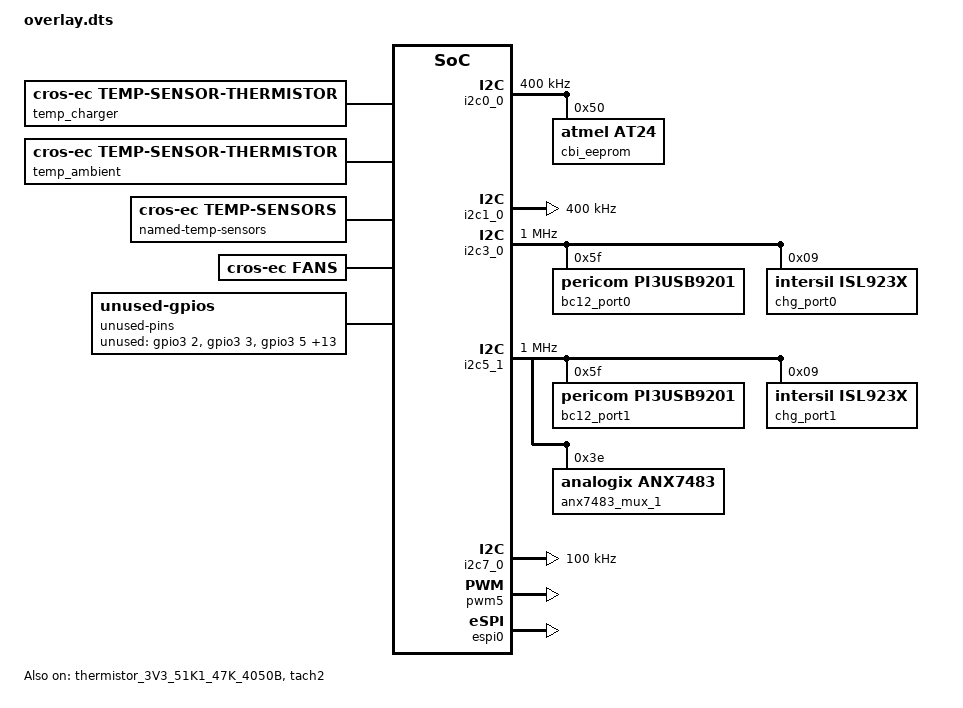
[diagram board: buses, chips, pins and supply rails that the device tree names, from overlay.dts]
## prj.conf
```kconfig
# Copyright 2021 The ChromiumOS Authors
# Use of this source code is governed by a BSD-style license that can be
# found in the LICENSE file.

CONFIG_BOARD_NIVVIKS=y
CONFIG_PLATFORM_EC_OCPC=y

CONFIG_PLATFORM_EC_ACCELGYRO_LSM6DSO=y
```

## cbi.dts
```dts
/* Copyright 2022 The Chromium OS Authors. All rights reserved.
 * Use of this source code is governed by a BSD-style license that can be
 * found in the LICENSE file.
 */

/ {
  /* Nivviks-specific fw_config fields. */
	nissa-fw-config {
		/*
		 * FW_CONFIG field to describe mainboard orientation in chassis.
		 */
		base-inversion {
			enum-name = "FW_BASE_INVERSION";
			start = <3>;
			size = <1>;

			inverted {
				compatible = "cros-ec,cbi-fw-config-value";
				enum-name = "FW_BASE_INVERTED";
				value = <0>;
			};
			regular {
				compatible = "cros-ec,cbi-fw-config-value";
				enum-name = "FW_BASE_REGULAR";
				value = <1>;
				default;
			};
		};
	};
};
```

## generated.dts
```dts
/* Copyright 2022 The ChromiumOS Authors
 * Use of this source code is governed by a BSD-style license that can be
 * found in the LICENSE file.
 *
 * This file is auto-generated - do not edit!
 */

/ {

	named-adc-channels {
		compatible = "named-adc-channels";

		adc_ec_vsense_pp1050_proc: ec_vsense_pp1050_proc {
			enum-name = "ADC_PP1050_PROC";
			io-channels = <&adc0 4>;
		};
		adc_ec_vsense_pp3300_s5: ec_vsense_pp3300_s5 {
			enum-name = "ADC_PP3300_S5";
			io-channels = <&adc0 6>;
		};
		adc_temp_sensor_1: temp_sensor_1 {
			enum-name = "ADC_TEMP_SENSOR_1";
			io-channels = <&adc0 0>;
		};
		adc_temp_sensor_2: temp_sensor_2 {
			enum-name = "ADC_TEMP_SENSOR_2";
			io-channels = <&adc0 1>;
		};
		adc_temp_sensor_3: temp_sensor_3 {
			enum-name = "ADC_TEMP_SENSOR_3";
			io-channels = <&adc0 10>;
		};
	};

	named-gpios {
		compatible = "named-gpios";

		gpio_acc_int_l: acc_int_l {
			gpios = <&gpio5 0 GPIO_INPUT>;
		};
		gpio_all_sys_pwrgd: all_sys_pwrgd {
			gpios = <&gpioa 7 GPIO_INPUT>;
		};
		gpio_ccd_mode_odl: ccd_mode_odl {
			gpios = <&gpioe 5 GPIO_INPUT>;
			enum-name = "GPIO_CCD_MODE_ODL";
		};
		gpio_cpu_c10_gate_l: cpu_c10_gate_l {
			gpios = <&gpio6 7 GPIO_INPUT>;
		};
		gpio_ec_battery_pres_odl: ec_battery_pres_odl {
			gpios = <&gpioa 3 GPIO_INPUT>;
			enum-name = "GPIO_BATT_PRES_ODL";
		};
		gpio_ec_cbi_wp: ec_cbi_wp {
			gpios = <&gpio7 4 GPIO_OUTPUT>;
		};
		gpio_ec_edp_bl_en_od: ec_edp_bl_en_od {
			gpios = <&gpiod 3 GPIO_ODR_HIGH>;
			enum-name = "GPIO_ENABLE_BACKLIGHT";
		};
		gpio_ec_entering_rw: ec_entering_rw {
			gpios = <&gpio0 3 GPIO_OUTPUT>;
			enum-name = "GPIO_ENTERING_RW";
		};
		gpio_ec_gsc_packet_mode: ec_gsc_packet_mode {
			gpios = <&gpio7 5 GPIO_OUTPUT>;
			enum-name = "GPIO_PACKET_MODE_EN";
		};
		gpio_ec_kso_02_inv: ec_kso_02_inv {
			gpios = <&gpio1 7 (GPIO_OUTPUT_LOW | GPIO_ACTIVE_LOW)>;
		};
		gpio_ec_pch_wake_odl: ec_pch_wake_odl {
			gpios = <&gpiob 0 GPIO_ODR_LOW>;
		};
		gpio_ec_prochot_odl: ec_prochot_odl {
			gpios = <&gpiof 1 GPIO_ODR_HIGH>;
		};
		gpio_ec_soc_dsw_pwrok: ec_soc_dsw_pwrok {
			gpios = <&gpio6 1 GPIO_OUTPUT>;
		};
		gpio_ec_soc_hdmi_hpd: ec_soc_hdmi_hpd {
			gpios = <&gpioe 4 GPIO_OUTPUT>;
		};
		gpio_ec_soc_int_odl: ec_soc_int_odl {
			gpios = <&gpio8 0 GPIO_ODR_HIGH>;
			enum-name = "GPIO_EC_INT_L";
		};
		gpio_ec_soc_pch_pwrok_od: ec_soc_pch_pwrok_od {
			gpios = <&gpio7 2 GPIO_ODR_HIGH>;
		};
		gpio_ec_soc_pwr_btn_odl: ec_soc_pwr_btn_odl {
			gpios = <&gpioc 1 GPIO_ODR_HIGH>;
			enum-name = "GPIO_PCH_PWRBTN_L";
		};
		gpio_ec_soc_rsmrst_l: ec_soc_rsmrst_l {
			gpios = <&gpioa 6 GPIO_OUTPUT>;
		};
		gpio_ec_soc_rtcrst: ec_soc_rtcrst {
			gpios = <&gpio7 6 GPIO_OUTPUT>;
		};
		gpio_ec_soc_sys_pwrok: ec_soc_sys_pwrok {
			gpios = <&gpio3 7 GPIO_OUTPUT>;
		};
		gpio_ec_soc_vccst_pwrgd_od: ec_soc_vccst_pwrgd_od {
			gpios = <&gpioa 4 GPIO_ODR_HIGH>;
		};
		gpio_ec_wp_odl: ec_wp_odl {
			gpios = <&gpioa 1 (GPIO_INPUT | GPIO_ACTIVE_LOW)>;
		};
		gpio_en_kb_bl: en_kb_bl {
			gpios = <&gpioa 0 GPIO_OUTPUT>;
			enum-name = "GPIO_EN_KEYBOARD_BACKLIGHT";
		};
		gpio_en_pp3300_s5: en_pp3300_s5 {
			gpios = <&gpiob 6 GPIO_OUTPUT>;
			enum-name = "GPIO_TEMP_SENSOR_POWER";
		};
		gpio_en_pp5000_pen_x: en_pp5000_pen_x {
			gpios = <&gpioe 2 GPIO_OUTPUT>;
		};
		gpio_en_pp5000_s5: en_pp5000_s5 {
			gpios = <&gpio4 0 GPIO_OUTPUT>;
		};
		gpio_en_slp_z: en_slp_z {
			gpios = <&gpioe 1 GPIO_OUTPUT>;
		};
		gpio_en_usb_a0_vbus: en_usb_a0_vbus {
			gpios = <&gpio9 1 GPIO_OUTPUT>;
		};
		gpio_gsc_ec_pwr_btn_odl: gsc_ec_pwr_btn_odl {
			gpios = <&gpio0 0 GPIO_INPUT_PULL_UP>;
			enum-name = "GPIO_POWER_BUTTON_L";
		};
		gpio_hdmi_sel: hdmi_sel {
			gpios = <&gpioc 6 GPIO_OUTPUT>;
		};
		gpio_imu_int_l: imu_int_l {
			gpios = <&gpio5 6 GPIO_INPUT>;
		};
		gpio_imvp91_vrrdy_od: imvp91_vrrdy_od {
			gpios = <&gpio4 3 GPIO_INPUT>;
		};
		gpio_lid_open: lid_open {
			gpios = <&gpiod 2 GPIO_INPUT>;
			enum-name = "GPIO_LID_OPEN";
		};
		gpio_pen_detect_odl: pen_detect_odl {
			gpios = <&gpio9 6 GPIO_INPUT_PULL_UP>;
		};
		gpio_pg_pp1050_mem_s3_od: pg_pp1050_mem_s3_od {
			gpios = <&gpiof 0 GPIO_INPUT>;
		};
		gpio_pg_pp5000_s5_od: pg_pp5000_s5_od {
			gpios = <&gpio4 2 GPIO_INPUT>;
		};
		gpio_rsmrst_pwrgd_l: rsmrst_pwrgd_l {
			gpios = <&gpio9 4 GPIO_INPUT_PULL_UP>;
		};
		gpio_slp_s0_l: slp_s0_l {
			gpios = <&gpio9 7 GPIO_INPUT>;
		};
		gpio_slp_s3_l: slp_s3_l {
			gpios = <&gpioa 5 GPIO_INPUT>;
		};
		gpio_slp_s4_l: slp_s4_l {
			gpios = <&gpio7 0 GPIO_INPUT>;
		};
		gpio_slp_sus_l: slp_sus_l {
			gpios = <&gpio6 2 GPIO_INPUT>;
		};
		gpio_sub_usb_a1_ilimit_sdp: sub_usb_a1_ilimit_sdp {
			gpios = <&gpiod 5 GPIO_OUTPUT>;
			enum-name = "GPIO_USB2_ILIM_SEL";
		};
		gpio_sys_rst_odl: sys_rst_odl {
			gpios = <&gpioc 5 GPIO_ODR_HIGH>;
		};
		gpio_tablet_mode_l: tablet_mode_l {
			gpios = <&gpio9 5 GPIO_INPUT>;
			enum-name = "GPIO_TABLET_MODE_L";
		};
		gpio_usb_a0_ilimit_sdp: usb_a0_ilimit_sdp {
			gpios = <&gpio8 5 GPIO_OUTPUT>;
			enum-name = "GPIO_USB1_ILIM_SEL";
		};
		gpio_usb_c0_int_odl: usb_c0_int_odl {
			gpios = <&gpio0 1 GPIO_INPUT_PULL_UP>;
		};
		gpio_vccin_aux_vid0: vccin_aux_vid0 {
			gpios = <&gpio9 2 (GPIO_INPUT | GPIO_VOLTAGE_1P8)>;
		};
		gpio_vccin_aux_vid1: vccin_aux_vid1 {
			gpios = <&gpioe 3 (GPIO_INPUT | GPIO_VOLTAGE_1P8)>;
		};
		gpio_voldn_btn_odl: voldn_btn_odl {
			gpios = <&gpioa 2 GPIO_INPUT_PULL_UP>;
			enum-name = "GPIO_VOLUME_DOWN_L";
		};
		gpio_volup_btn_odl: volup_btn_odl {
			gpios = <&gpio9 3 GPIO_INPUT_PULL_UP>;
			enum-name = "GPIO_VOLUME_UP_L";
		};
	};

	named-i2c-ports {
		compatible = "named-i2c-ports";

		i2c_ec_i2c_eeprom: ec_i2c_eeprom {
			i2c-port = <&i2c0_0>;
			enum-names = "I2C_PORT_EEPROM";
		};
		i2c_ec_i2c_sensor: ec_i2c_sensor {
			i2c-port = <&i2c1_0>;
			enum-names = "I2C_PORT_SENSOR";
		};
		i2c_ec_i2c_usb_c0: ec_i2c_usb_c0 {
			i2c-port = <&i2c3_0>;
			enum-names = "I2C_PORT_USB_C0_TCPC";
		};
		i2c_ec_i2c_sub_usb_c1: ec_i2c_sub_usb_c1 {
			i2c-port = <&i2c5_1>;
			enum-names = "I2C_PORT_USB_C1_TCPC";
		};
		i2c_ec_i2c_batt: ec_i2c_batt {
			i2c-port = <&i2c7_0>;
			enum-names = "I2C_PORT_BATTERY";
		};
	};
};

&adc0 {
	status = "okay";
	pinctrl-0 = <&adc0_chan0_gp45
		     &adc0_chan1_gp44
		     &adc0_chan4_gp41
		     &adc0_chan6_gp34
		     &adc0_chan10_gpe0>;
	pinctrl-names = "default";
};


&i2c0_0 {
	status = "okay";
	pinctrl-0 = <&i2c0_0_sda_scl_gpb4_b5>;
	pinctrl-names = "default";
};

&i2c1_0 {
	status = "okay";
	pinctrl-0 = <&i2c1_0_sda_scl_gp87_90>;
	pinctrl-names = "default";
};

&i2c3_0 {
	status = "okay";
	pinctrl-0 = <&i2c3_0_sda_scl_gpd0_d1>;
	pinctrl-names = "default";
};

&i2c5_1 {
	status = "okay";
	pinctrl-0 = <&i2c5_1_sda_scl_gpf4_f5>;
	pinctrl-names = "default";
};

&i2c7_0 {
	status = "okay";
	pinctrl-0 = <&i2c7_0_sda_scl_gpb2_b3>;
	pinctrl-names = "default";
};

&i2c_ctrl0 {
	status = "okay";
};

&i2c_ctrl1 {
	status = "okay";
};

&i2c_ctrl3 {
	status = "okay";
};

&i2c_ctrl5 {
	status = "okay";
};

&i2c_ctrl7 {
	status = "okay";
};
```

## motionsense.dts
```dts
/* Copyright 2021 The Chromium OS Authors. All rights reserved.
 * Use of this source code is governed by a BSD-style license that can be
 * found in the LICENSE file.
 */

#include <dt-bindings/motionsense/utils.h>


/ {
	aliases {
		/*
		 * Interrupt bindings for sensor devices.
		 */
		lsm6dso-int = &base_accel;
		lis2dw12-int = &lid_accel;
	};

	/*
	 * Declare mutexes used by sensor drivers.
	 * A mutex node is used to create an instance of mutex_t.
	 * A mutex node is referenced by a sensor node if the
	 * corresponding sensor driver needs to use the
	 * instance of the mutex.
	 */
	motionsense-mutex {
		compatible = "cros-ec,motionsense-mutex";
		lid_mutex: lid-mutex {
		};

		base_mutex: base-mutex {
		};
	};

	/* Rotation matrix used by drivers. */
	motionsense-rotation-ref {
		compatible = "cros-ec,motionsense-rotation-ref";
		lid_rot_ref: lid-rotation-ref {
			mat33 = <(-1) 0 0
				 0 1 0
				 0 0 (-1)>;
		};

		base_rot_ref: base-rot-ref {
			mat33 = <(-1) 0 0
				 0 (-1) 0
				 0 0 1>;
		};

		base_rot_inverted: base-rotation-inverted {
			mat33 = <1 0 0
				 0 (-1) 0
				 0 0 (-1)>;
		};
	};

	/*
	 * Driver specific data. A driver-specific data can be shared with
	 * different motion sensors while they are using the same driver.
	 *
	 * If a node's compatible starts with "cros-ec,accelgyro-", it is for
	 * a common structure defined in accelgyro.h.
	 * e.g) compatible = "cros-ec,accelgyro-als-drv-data" is for
	 * "struct als_drv_data_t" in accelgyro.h
	 */
	motionsense-sensor-data {
		lsm6dso_accel_data: lsm6dso-accel-drv-data {
			compatible = "cros-ec,drvdata-lsm6dso";
			status = "okay";
		};

		lsm6dso_gyro_data: lsm6dso-gyro-drv-data {
			compatible = "cros-ec,drvdata-lsm6dso";
			status = "okay";
		};

		lis2dw12_data: lis2dw12-drv-data {
			compatible = "cros-ec,drvdata-lis2dw12";
			status = "okay";
		};
	};

	/*
	 * List of motion sensors that creates motion_sensors array.
	 * The nodelabel "lid_accel" and "base_accel" are used to indicate
	 * motion sensor IDs for lid angle calculation.
	 * TODO(b/238139272): The first entries of the array must be
	 * accelerometers,then gyroscope. Fix this dependency in the DTS
	 * processing which makes the devicetree entries independent.
	 */
	motionsense-sensor {
		lid_accel: lid-accel {
			compatible = "cros-ec,lis2dw12";
			status = "okay";

			active-mask = "SENSOR_ACTIVE_S0_S3";
			location = "MOTIONSENSE_LOC_LID";
			mutex = <&lid_mutex>;
			port = <&i2c_ec_i2c_sensor>;
			rot-standard-ref = <&lid_rot_ref>;
			default-range = <2>;
			drv-data = <&lis2dw12_data>;
			i2c-spi-addr-flags = "LIS2DWL_ADDR0_FLAGS";
			configs {
				compatible =
					"cros-ec,motionsense-sensor-config";
				ec-s0 {
					odr = <(10000 | ROUND_UP_FLAG)>;
				};
				ec-s3 {
					odr = <(10000 | ROUND_UP_FLAG)>;
				};
			};
		};

		base_accel: base-accel {
			compatible = "cros-ec,lsm6dso-accel";
			status = "okay";

			active-mask = "SENSOR_ACTIVE_S0_S3";
			location = "MOTIONSENSE_LOC_BASE";
			mutex = <&base_mutex>;
			port = <&i2c_ec_i2c_sensor>;
			/*
			 * May be replaced by alternate depending
			 * on board config.
			 */
			rot-standard-ref = <&base_rot_ref>;
			drv-data = <&lsm6dso_accel_data>;
			configs {
				compatible =
					"cros-ec,motionsense-sensor-config";
				ec-s0 {
					odr = <(10000 | ROUND_UP_FLAG)>;
				};
				ec-s3 {
					odr = <(10000 | ROUND_UP_FLAG)>;
				};
			};
		};

		base_gyro: base-gyro {
			compatible = "cros-ec,lsm6dso-gyro";
			status = "okay";

			active-mask = "SENSOR_ACTIVE_S0_S3";
			location = "MOTIONSENSE_LOC_BASE";
			mutex = <&base_mutex>;
			port = <&i2c_ec_i2c_sensor>;
			rot-standard-ref = <&base_rot_ref>;
			default-range = <(1000 | ROUND_UP_FLAG)>; /* dps */
			drv-data = <&lsm6dso_gyro_data>;
		};
	};

	motionsense-sensor-info {
		compatible = "cros-ec,motionsense-sensor-info";

		/*
		 * list of GPIO interrupts that have to
		 * be enabled at initial stage
		 */
		sensor-irqs = <&int_imu>;
		/* list of sensors in force mode */
		accel-force-mode-sensors = <&lid_accel>;
	};
};
```

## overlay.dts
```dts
/* Copyright 2021 The ChromiumOS Authors
 * Use of this source code is governed by a BSD-style license that can be
 * found in the LICENSE file.
 */

#include <cros/thermistor/thermistor.dtsi>

/ {
	aliases {
		gpio-cbi-wp = &gpio_ec_cbi_wp;
		gpio-wp = &gpio_ec_wp_odl;
		int-wp = &int_wp_l;
		gpio-kbd-kso2 = &gpio_ec_kso_02_inv;
	};

	ec-console {
		compatible = "ec-console";
		disabled = "events", "lpc", "hostcmd";
	};

	batteries {
		default_battery: lgc {
			compatible = "lgc,ap18c8k", "battery-smart";
		};
		lgc_ap19b8m {
			compatible = "lgc,ap19b8m", "battery-smart";
		};
	};

	hibernate-wake-pins {
		compatible = "cros-ec,hibernate-wake-pins";
		wakeup-irqs = <
			&int_power_button
			&int_lid_open
		>;
	};

	gpio-interrupts {
		compatible = "cros-ec,gpio-interrupts";

		int_power_button: power_button {
			irq-pin = <&gpio_gsc_ec_pwr_btn_odl>;
			flags = <GPIO_INT_EDGE_BOTH>;
			handler = "power_button_interrupt";
		};
		int_wp_l: wp_l {
			irq-pin = <&gpio_ec_wp_odl>;
			flags = <GPIO_INT_EDGE_BOTH>;
			handler = "switch_interrupt";
		};
		int_lid_open: lid_open {
			irq-pin = <&gpio_lid_open>;
			flags = <GPIO_INT_EDGE_BOTH>;
			handler = "lid_interrupt";
		};
		int_tablet_mode: tablet_mode {
			irq-pin = <&gpio_tablet_mode_l>;
			flags = <GPIO_INT_EDGE_BOTH>;
			handler = "gmr_tablet_switch_isr";
		};
		int_imu: ec_imu {
			irq-pin = <&gpio_imu_int_l>;
			flags = <GPIO_INT_EDGE_FALLING>;
			handler = "lsm6dso_interrupt";
		};
		int_vol_down: vol_down {
			irq-pin = <&gpio_voldn_btn_odl>;
			flags = <GPIO_INT_EDGE_BOTH>;
			handler = "button_interrupt";
		};
		int_vol_up: vol_up {
			irq-pin = <&gpio_volup_btn_odl>;
			flags = <GPIO_INT_EDGE_BOTH>;
			handler = "button_interrupt";
		};
		int_usb_c0: usb_c0 {
			irq-pin = <&gpio_usb_c0_int_odl>;
			flags = <GPIO_INT_EDGE_FALLING>;
			handler = "usb_interrupt";
		};
		int_usb_c1: usb_c1 {
			irq-pin = <&gpio_sb_1>;
			flags = <GPIO_INT_EDGE_FALLING>;
			handler = "usb_interrupt";
		};
	};

	named-gpios {
		gpio_sb_1: sb-1 {
			gpios = <&gpio0 2 GPIO_PULL_UP>;
			no-auto-init;
		};

		gpio_sb_2: sb-2 {
			gpios = <&gpiod 4 GPIO_OUTPUT>;
			no-auto-init;
		};

		/*
		 * Set I2C pins for type C sub-board to be low voltage (I2C5_1).
		 * We do this for all boards, since the pins are 3.3V tolerant,
		 * and the only 2 types of sub-boards used on nivviks both have
		 * type-C ports on them.
		 */
		gpio_sb_3: sb-3 {
			gpios = <&gpiof 4 (GPIO_OPEN_DRAIN | GPIO_VOLTAGE_1P8)>;
			no-auto-init;
		};
		gpio_sb_4: sb-4 {
			gpios = <&gpiof 5 (GPIO_INPUT | GPIO_VOLTAGE_1P8)>;
			no-auto-init;
		};
		gpio_fan_enable: fan-enable {
			gpios = <&gpio6 3 GPIO_OUTPUT>;
			no-auto-init;
		};
		ec-i2c-sensor-scl {
			gpios = <&gpio9 0 (GPIO_INPUT | GPIO_VOLTAGE_1P8)>;
		};
		ec-i2c-sensor-sda {
			gpios = <&gpio8 7 (GPIO_INPUT | GPIO_VOLTAGE_1P8)>;
		};
	};

	/*
	 * Aliases used for sub-board GPIOs.
	 */
	aliases {
		/*
		 * Input GPIO when used with type-C port 1
		 * Output when used with HDMI sub-board
		 */
		gpio-usb-c1-int-odl = &gpio_sb_1;
		gpio-en-rails-odl = &gpio_sb_1;
		/*
		 * Sub-board with type A USB, enable.
		 */
		gpio-en-usb-a1-vbus = &gpio_sb_2;
		/*
		 * HPD pins for HDMI sub-board.
		 */
		gpio-hdmi-en-odl = &gpio_sb_3;
		gpio-hpd-odl = &gpio_sb_4;
		/*
		 * Enable S5 rails for LTE sub-board
		 */
		gpio-en-sub-s5-rails = &gpio_sb_2;
	};

	temp_memory: memory {
		compatible = "cros-ec,temp-sensor-thermistor";
		thermistor = <&thermistor_3V3_51K1_47K_4050B>;
		adc = <&adc_temp_sensor_1>;
	};
	temp_charger: charger {
		compatible = "cros-ec,temp-sensor-thermistor";
		thermistor = <&thermistor_3V3_51K1_47K_4050B>;
		adc = <&adc_temp_sensor_2>;
	};
	temp_ambient: ambient {
		compatible = "cros-ec,temp-sensor-thermistor";
		thermistor = <&thermistor_3V3_51K1_47K_4050B>;
		adc = <&adc_temp_sensor_3>;
	};

	named-temp-sensors {
		compatible = "cros-ec,temp-sensors";
		memory {
			temp_fan_off = <35>;
			temp_fan_max = <60>;
			temp_host_high = <85>;
			temp_host_halt = <90>;
			temp_host_release_high = <80>;
			power-good-pin = <&gpio_ec_soc_dsw_pwrok>;
			sensor = <&temp_memory>;
		};
		charger {
			temp_fan_off = <35>;
			temp_fan_max = <60>;
			temp_host_high = <85>;
			temp_host_halt = <90>;
			temp_host_release_high = <80>;
			power-good-pin = <&gpio_ec_soc_dsw_pwrok>;
			sensor = <&temp_charger>;
		};
		ambient {
			temp_fan_off = <35>;
			temp_fan_max = <60>;
			temp_host_high = <85>;
			temp_host_halt = <90>;
			temp_host_release_high = <80>;
			power-good-pin = <&gpio_ec_soc_dsw_pwrok>;
			sensor = <&temp_ambient>;
		};
	};

	usba {
		compatible = "cros-ec,usba-port-enable-pins";
		/*
		 * sb_2 is only configured as GPIO when USB-A1 is present,
		 * but it's still safe to control when disabled.
		 *
		 * ILIM_SEL pins are referred to by legacy enum name,
		 * GPIO_USB*_ILIM_SEL. The one for port A1 is unused on
		 * sub-boards that don't have USB-A so is safe to control
		 * regardless of system configuration.
		 */
		enable-pins = <&gpio_en_usb_a0_vbus &gpio_sb_2>;
		status = "okay";
	};

	usbc {
		#address-cells = <1>;
		#size-cells = <0>;

		port0@0 {
			compatible = "named-usbc-port";
			reg = <0>;
			bc12 = <&bc12_port0>;
			chg = <&chg_port0>;
			usb-mux-chain-0 {
				compatible = "cros-ec,usb-mux-chain";
				usb-muxes = <&virtual_mux_0>;
			};
		};
		port0-muxes {
			virtual_mux_0: virtual-mux-0 {
				compatible = "cros-ec,usbc-mux-virtual";
			};
		};
		/*
		 * TODO(b:211693800): port1 may not be present on some
		 * sub-boards.
		 */
		port1@1 {
			compatible = "named-usbc-port";
			reg = <1>;
			bc12 = <&bc12_port1>;
			chg = <&chg_port1>;
			usb-mux-chain-1 {
				compatible = "cros-ec,usb-mux-chain";
				usb-muxes = <&virtual_mux_1 &anx7483_mux_1>;
			};
			usb_mux_chain_1_no_mux: usb-mux-chain-1-no-mux {
				compatible = "cros-ec,usb-mux-chain";
				alternative-chain;
				usb-muxes = <&virtual_mux_1>;
			};
		};
		port1-muxes {
			virtual_mux_1: virtual-mux-1 {
				compatible = "cros-ec,usbc-mux-virtual";
			};
		};
	};

	fans {
		compatible = "cros-ec,fans";

		fan_0 {
			pwms = <&pwm5 5 PWM_KHZ(1) PWM_POLARITY_NORMAL>;
			rpm_min = <2200>;
			rpm_start = <2200>;
			rpm_max = <4200>;
			tach = <&tach2>;
			enable_gpio = <&gpio_fan_enable>;
		};
	};

	 /*
	  * Declare unused GPIOs so that they are shut down
	  * and use minimal power
	  */
	  unused-pins {
		compatible = "unused-gpios";
		unused-gpios =
			<&gpio3 2 0>,
			<&gpio3 3 0>,
			<&gpio3 5 0>,
			<&gpio3 6 0>,
			<&gpio5 7 0>,
			<&gpio6 0 0>,
			<&gpio6 3 0>,
			<&gpio6 6 0>,
			<&gpio7 3 0>,
			<&gpio8 3 0>,
			<&gpio8 6 0>,
			<&gpiob 1 0>,
			<&gpiob 7 0>,
			<&gpioc 7 0>,
			<&gpiof 2 0>,
			<&gpiof 3 0>;
	 };
};

&thermistor_3V3_51K1_47K_4050B {
	status = "okay";
};

&adc_ec_vsense_pp3300_s5 {
	/*
	 * Voltage divider on input has 47k upper and 220k lower legs with
	 * 2714 mV full-scale reading on the ADC. Apply the largest possible
	 * multiplier (without overflowing int32) to get the best possible
	 * approximation of the actual ratio, but derate by a factor of two to
	 * ensure unexpectedly high values won't overflow.
	 */
	mul = <(791261 / 2)>;
	div = <(651975 / 2)>;
};

/* Set bus speeds for I2C */
&i2c0_0 {
	label = "I2C_EEPROM";
	clock-frequency = <I2C_BITRATE_FAST>;

	cbi_eeprom: eeprom@50 {
		compatible = "atmel,at24";
		reg = <0x50>;
		size = <2048>;
		pagesize = <16>;
		address-width = <8>;
		timeout = <5>;
	};
};

&i2c1_0 {
	label = "I2C_SENSOR";
	clock-frequency = <I2C_BITRATE_FAST>;
};

&i2c3_0 {
	label = "I2C_USB_C0_TCPC";
	clock-frequency = <I2C_BITRATE_FAST_PLUS>;

	bc12_port0: pi3usb9201@5f {
		compatible = "pericom,pi3usb9201";
		status = "okay";
		reg = <0x5f>;
		/*
		 * BC1.2 interrupt is shared with TCPC, so
		 * IRQ is not specified here and handled by
		 * usb_c0_interrupt.
		 */
	};

	chg_port0: isl923x@9 {
		compatible = "intersil,isl923x";
		status = "okay";
		reg = <0x9>;
	};
};

&i2c5_1 {
	label = "I2C_SUB_C1_TCPC";
	clock-frequency = <I2C_BITRATE_FAST_PLUS>;

	bc12_port1: pi3usb9201@5f {
		compatible = "pericom,pi3usb9201";
		status = "okay";
		reg = <0x5f>;
	};

	chg_port1: isl923x@9 {
		compatible = "intersil,isl923x";
		status = "okay";
		reg = <0x9>;
	};

	anx7483_mux_1: anx7483-mux-1@3e {
		compatible = "analogix,anx7483";
		reg = <0x3e>;
	};
};

&i2c7_0 {
	label = "I2C_BATTERY";
	clock-frequency = <I2C_BITRATE_STANDARD>;
};

&pwm5_gpb7 {
	drive-open-drain;
};

&pwm5 {
	status = "okay";
	clock-bus = "NPCX_CLOCK_BUS_LFCLK";
	pinctrl-0 = <&pwm5_gpb7>;
	pinctrl-names = "default";
};

/* Tachometer for fan speed measurement */
&tach2 {
	status = "okay";
	pinctrl-0 = <&ta2_1_in_gp73>;
	pinctrl-names = "default";
	port = <NPCX_TACH_PORT_A>; /* port-A is selected */
	sample-clk = <NPCX_TACH_FREQ_LFCLK>; /* Use LFCLK as sampling clock */
	pulses-per-round = <2>; /* number of pulses per round of encoder */
};

/* host interface */
&espi0 {
	status = "okay";
	pinctrl-0 = <&espi_lpc_gp46_47_51_52_53_54_55_57>;
	pinctrl-names = "default";
};

/*
 * Declare GPIOs that have leakage current caused by board issues here. NPCX ec
 * will disable their input buffers before entering deep sleep and restore them
 * after waking up automatically for better power consumption.
 */
&power_leakage_io {
	leak-gpios = <&gpioa 4 0
		      &gpiof 1 0>;
};
```

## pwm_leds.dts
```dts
/* Copyright 2022 The Chromium OS Authors. All rights reserved.
 * Use of this source code is governed by a BSD-style license that can be
 * found in the LICENSE file.
 */

/ {
	pwmleds {
		compatible = "pwm-leds";
		pwm_led0: pwm_led_0 {
			pwms = <&pwm2 2 PWM_HZ(324) PWM_POLARITY_INVERTED>,
			       <&pwm0 0 PWM_HZ(324) PWM_POLARITY_INVERTED>,
			       <&pwm1 1 PWM_HZ(324) PWM_POLARITY_INVERTED>;
		};
	};

	cros-pwmleds {
		compatible = "cros-ec,pwm-leds";

		leds = <&pwm_led0>;

				/*<red green blue>*/
		color-map-red    = <100   0    0>;
		color-map-green  = <  0 100    0>;
		color-map-blue   = <  0   0  100>;
		color-map-yellow = <  0  50   50>;
		color-map-white  = <100 100  100>;
		color-map-amber  = <100   0    0>;

		brightness-range = <0 0 100 0 0 100>;

		#address-cells = <1>;
		#size-cells = <0>;

		pwm_led_0@0 {
			reg = <0>;
			ec-led-name = "EC_LED_ID_BATTERY_LED";
		};
	};
};

/* Enable LEDs to work while CPU suspended */

&pwm0 {
	status = "okay";
	clock-bus = "NPCX_CLOCK_BUS_LFCLK";
	pinctrl-0 = <&pwm0_gpc3>;
	pinctrl-names = "default";
};

&pwm1 {
	status = "okay";
	clock-bus = "NPCX_CLOCK_BUS_LFCLK";
	pinctrl-0 = <&pwm1_gpc2>;
	pinctrl-names = "default";
};

&pwm2 {
	status = "okay";
	clock-bus = "NPCX_CLOCK_BUS_LFCLK";
	pinctrl-0 = <&pwm2_gpc4>;
	pinctrl-names = "default";
};
```

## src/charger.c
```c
/* Copyright 2021 The ChromiumOS Authors
 * Use of this source code is governed by a BSD-style license that can be
 * found in the LICENSE file.
 */

#include <zephyr/logging/log.h>

#include "battery.h"
#include "charger.h"
#include "charger/isl923x_public.h"
#include "console.h"
#include "extpower.h"
#include "usb_pd.h"
#include "nissa_common.h"

LOG_MODULE_DECLARE(nissa, CONFIG_NISSA_LOG_LEVEL);

int extpower_is_present(void)
{
	int port;
	int rv;
	bool acok;

	for (port = 0; port < board_get_usb_pd_port_count(); port++) {
		rv = raa489000_is_acok(port, &acok);
		if ((rv == EC_SUCCESS) && acok)
			return 1;
	}

	return 0;
}

/*
 * Nivviks does not have a GPIO indicating whether extpower is present,
 * so detect using the charger(s).
 */
__override void board_check_extpower(void)
{
	static int last_extpower_present;
	int extpower_present = extpower_is_present();

	if (last_extpower_present ^ extpower_present)
		extpower_handle_update(extpower_present);

	last_extpower_present = extpower_present;
}

__override void board_hibernate(void)
{
	/* Shut down the chargers */
	if (board_get_usb_pd_port_count() == 2)
		raa489000_hibernate(CHARGER_SECONDARY, true);
	raa489000_hibernate(CHARGER_PRIMARY, true);
	LOG_INF("Charger(s) hibernated");
	cflush();
}
```

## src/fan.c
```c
/* Copyright 2022 The Chromium OS Authors. All rights reserved.
 * Use of this source code is governed by a BSD-style license that can be
 * found in the LICENSE file.
 */

#include <zephyr/devicetree.h>
#include <zephyr/drivers/gpio.h>
#include <zephyr/logging/log.h>

#include "cros_cbi.h"
#include "fan.h"
#include "gpio/gpio.h"
#include "hooks.h"

#include "nissa_common.h"

LOG_MODULE_DECLARE(nissa, CONFIG_NISSA_LOG_LEVEL);

/*
 * Nirwen fan support
 */
static void fan_init(void)
{
	int ret;
	uint32_t val;
	/*
	 * Retrieve the fan config.
	 */
	ret = cros_cbi_get_fw_config(FW_FAN, &val);
	if (ret != 0) {
		LOG_ERR("Error retrieving CBI FW_CONFIG field %d", FW_FAN);
		return;
	}
	if (val != FW_FAN_PRESENT) {
		/* Disable the fan */
		fan_set_count(0);
	} else {
		/* Configure the fan enable GPIO */
		gpio_pin_configure_dt(GPIO_DT_FROM_NODELABEL(gpio_fan_enable),
				      GPIO_OUTPUT);
	}
}
DECLARE_HOOK(HOOK_INIT, fan_init, HOOK_PRIO_POST_FIRST);
```

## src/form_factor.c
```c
/* Copyright 2022 The ChromiumOS Authors
 * Use of this source code is governed by a BSD-style license that can be
 * found in the LICENSE file.
 */

#include <zephyr/devicetree.h>
#include <zephyr/logging/log.h>

#include "accelgyro.h"
#include "cros_cbi.h"
#include "hooks.h"
#include "motionsense_sensors.h"

#include "nissa_common.h"

LOG_MODULE_DECLARE(nissa, CONFIG_NISSA_LOG_LEVEL);

/*
 * Mainboard orientation support.
 */

#define ALT_MAT SENSOR_ROT_STD_REF_NAME(DT_NODELABEL(base_rot_inverted))
#define BASE_SENSOR SENSOR_ID(DT_NODELABEL(base_accel))
#define BASE_GYRO SENSOR_ID(DT_NODELABEL(base_gyro))

static void form_factor_init(void)
{
	int ret;
	uint32_t val;
	/*
	 * If the firmware config indicates
	 * an inverted form factor, use the alternative
	 * rotation matrix.
	 */
	ret = cros_cbi_get_fw_config(FW_BASE_INVERSION, &val);
	if (ret != 0) {
		LOG_ERR("Error retrieving CBI FW_CONFIG field %d",
			FW_BASE_INVERSION);
		return;
	}
	if (val == FW_BASE_INVERTED) {
		LOG_INF("Switching to inverted base");
		motion_sensors[BASE_SENSOR].rot_standard_ref = &ALT_MAT;
		motion_sensors[BASE_GYRO].rot_standard_ref = &ALT_MAT;
	}
}
DECLARE_HOOK(HOOK_INIT, form_factor_init, HOOK_PRIO_POST_I2C);
```

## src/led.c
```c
/* Copyright 2022 The ChromiumOS Authors
 * Use of this source code is governed by a BSD-style license that can be
 * found in the LICENSE file.
 *
 * Battery LED control for nissa
 */
#include "common.h"
#include "ec_commands.h"
#include "led_common.h"
#include "led_onoff_states.h"
#include "led_pwm.h"

__override const int led_charge_lvl_1 = 5;
__override const int led_charge_lvl_2 = 97;
__override struct led_descriptor
	led_bat_state_table[LED_NUM_STATES][LED_NUM_PHASES] = {
		[STATE_CHARGING_LVL_1] = { { EC_LED_COLOR_AMBER,
					     LED_INDEFINITE } },
		[STATE_CHARGING_LVL_2] = { { EC_LED_COLOR_AMBER,
					     LED_INDEFINITE } },
		[STATE_CHARGING_FULL_CHARGE] = { { EC_LED_COLOR_BLUE,
						   LED_INDEFINITE } },
		[STATE_DISCHARGE_S0] = { { EC_LED_COLOR_BLUE,
					   LED_INDEFINITE } },
		[STATE_DISCHARGE_S0_BAT_LOW] = { { EC_LED_COLOR_AMBER,
						   LED_INDEFINITE } },
		[STATE_DISCHARGE_S3] = { { LED_OFF, LED_INDEFINITE } },
		[STATE_DISCHARGE_S5] = { { LED_OFF, LED_INDEFINITE } },
		[STATE_BATTERY_ERROR] = { { EC_LED_COLOR_AMBER,
					    1 * LED_ONE_SEC },
					  { LED_OFF, 1 * LED_ONE_SEC } },
		[STATE_FACTORY_TEST] = { { EC_LED_COLOR_AMBER,
					   2 * LED_ONE_SEC },
					 { EC_LED_COLOR_BLUE,
					   2 * LED_ONE_SEC } },
	};

__override void led_set_color_battery(enum ec_led_colors color)
{
	switch (color) {
	case EC_LED_COLOR_BLUE:
		set_pwm_led_color(EC_LED_ID_BATTERY_LED, EC_LED_COLOR_BLUE);
		break;
	case EC_LED_COLOR_AMBER:
		set_pwm_led_color(EC_LED_ID_BATTERY_LED, EC_LED_COLOR_AMBER);
		break;
	default: /* LED_OFF and other unsupported colors */
		set_pwm_led_color(EC_LED_ID_BATTERY_LED, -1);
		break;
	}
}
```

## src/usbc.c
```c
/* Copyright 2021 The ChromiumOS Authors
 * Use of this source code is governed by a BSD-style license that can be
 * found in the LICENSE file.
 */

#include <zephyr/logging/log.h>

#include "charge_state_v2.h"
#include "chipset.h"
#include "hooks.h"
#include "usb_mux.h"
#include "system.h"
#include "driver/charger/isl923x_public.h"
#include "driver/retimer/anx7483_public.h"
#include "driver/tcpm/tcpci.h"
#include "driver/tcpm/raa489000.h"

#include "nissa_common.h"

LOG_MODULE_DECLARE(nissa, CONFIG_NISSA_LOG_LEVEL);

struct tcpc_config_t tcpc_config[CONFIG_USB_PD_PORT_MAX_COUNT] = {
	{
		.bus_type = EC_BUS_TYPE_I2C,
		.i2c_info = {
			.port = I2C_PORT_USB_C0_TCPC,
			.addr_flags = RAA489000_TCPC0_I2C_FLAGS,
		},
		.drv = &raa489000_tcpm_drv,
		/* RAA489000 implements TCPCI 2.0 */
		.flags = TCPC_FLAGS_TCPCI_REV2_0 |
			TCPC_FLAGS_VBUS_MONITOR,
	},
	{ /* sub-board */
		.bus_type = EC_BUS_TYPE_I2C,
		.i2c_info = {
			.port = I2C_PORT_USB_C1_TCPC,
			.addr_flags = RAA489000_TCPC0_I2C_FLAGS,
		},
		.drv = &raa489000_tcpm_drv,
		/* RAA489000 implements TCPCI 2.0 */
		.flags = TCPC_FLAGS_TCPCI_REV2_0 |
			TCPC_FLAGS_VBUS_MONITOR,
	},
};

int board_is_sourcing_vbus(int port)
{
	int regval;

	tcpc_read(port, TCPC_REG_POWER_STATUS, &regval);
	return !!(regval & TCPC_REG_POWER_STATUS_SOURCING_VBUS);
}

int board_set_active_charge_port(int port)
{
	int is_real_port = (port >= 0 && port < CONFIG_USB_PD_PORT_MAX_COUNT);
	int i;
	int old_port;

	if (!is_real_port && port != CHARGE_PORT_NONE)
		return EC_ERROR_INVAL;

	old_port = charge_manager_get_active_charge_port();

	LOG_INF("New chg p%d", port);

	/* Disable all ports. */
	if (port == CHARGE_PORT_NONE) {
		for (i = 0; i < CONFIG_USB_PD_PORT_MAX_COUNT; i++) {
			tcpc_write(i, TCPC_REG_COMMAND,
				   TCPC_REG_COMMAND_SNK_CTRL_LOW);
			raa489000_enable_asgate(i, false);
		}

		return EC_SUCCESS;
	}

	/* Check if port is sourcing VBUS. */
	if (board_is_sourcing_vbus(port)) {
		LOG_WRN("Skip enable p%d", port);
		return EC_ERROR_INVAL;
	}

	/*
	 * Turn off the other ports' sink path FETs, before enabling the
	 * requested charge port.
	 */
	for (i = 0; i < CONFIG_USB_PD_PORT_MAX_COUNT; i++) {
		if (i == port)
			continue;

		if (tcpc_write(i, TCPC_REG_COMMAND,
			       TCPC_REG_COMMAND_SNK_CTRL_LOW))
			LOG_WRN("p%d: sink path disable failed.", i);
		raa489000_enable_asgate(i, false);
	}

	/*
	 * Stop the charger IC from switching while changing ports.  Otherwise,
	 * we can overcurrent the adapter we're switching to. (crbug.com/926056)
	 */
	if (old_port != CHARGE_PORT_NONE)
		charger_discharge_on_ac(1);

	/* Enable requested charge port. */
	if (raa489000_enable_asgate(port, true) ||
	    tcpc_write(port, TCPC_REG_COMMAND,
		       TCPC_REG_COMMAND_SNK_CTRL_HIGH)) {
		LOG_WRN("p%d: sink path enable failed.", port);
		charger_discharge_on_ac(0);
		return EC_ERROR_UNKNOWN;
	}

	/* Allow the charger IC to begin/continue switching. */
	charger_discharge_on_ac(0);

	return EC_SUCCESS;
}

uint16_t tcpc_get_alert_status(void)
{
	uint16_t status = 0;
	int regval;

	/*
	 * The interrupt line is shared between the TCPC and BC1.2 detector IC.
	 * Therefore, go out and actually read the alert registers to report the
	 * alert status.
	 */
	if (!gpio_pin_get_dt(GPIO_DT_FROM_NODELABEL(gpio_usb_c0_int_odl))) {
		if (!tcpc_read16(0, TCPC_REG_ALERT, &regval)) {
			/* The TCPCI Rev 1.0 spec says to ignore bits 14:12. */
			if (!(tcpc_config[0].flags & TCPC_FLAGS_TCPCI_REV2_0))
				regval &= ~((1 << 14) | (1 << 13) | (1 << 12));

			if (regval)
				status |= PD_STATUS_TCPC_ALERT_0;
		}
	}

	if (board_get_usb_pd_port_count() == 2 &&
	    !gpio_pin_get_dt(GPIO_DT_FROM_ALIAS(gpio_usb_c1_int_odl))) {
		if (!tcpc_read16(1, TCPC_REG_ALERT, &regval)) {
			/* TCPCI spec Rev 1.0 says to ignore bits 14:12. */
			if (!(tcpc_config[1].flags & TCPC_FLAGS_TCPCI_REV2_0))
				regval &= ~((1 << 14) | (1 << 13) | (1 << 12));

			if (regval)
				status |= PD_STATUS_TCPC_ALERT_1;
		}
	}

	return status;
}

void pd_power_supply_reset(int port)
{
	/* Disable VBUS */
	tcpc_write(port, TCPC_REG_COMMAND, TCPC_REG_COMMAND_SRC_CTRL_LOW);

	/* Notify host of power info change. */
	pd_send_host_event(PD_EVENT_POWER_CHANGE);
}

__override void typec_set_source_current_limit(int port, enum tcpc_rp_value rp)
{
	if (port < 0 || port >= CONFIG_USB_PD_PORT_MAX_COUNT)
		return;

	raa489000_set_output_current(port, rp);
}

int pd_set_power_supply_ready(int port)
{
	int rv;

	if (port >= CONFIG_USB_PD_PORT_MAX_COUNT)
		return EC_ERROR_INVAL;

	/* Disable charging. */
	rv = tcpc_write(port, TCPC_REG_COMMAND, TCPC_REG_COMMAND_SNK_CTRL_LOW);
	if (rv)
		return rv;

	/* Our policy is not to source VBUS when the AP is off. */
	if (chipset_in_state(CHIPSET_STATE_ANY_OFF))
		return EC_ERROR_NOT_POWERED;

	/* Provide Vbus. */
	rv = tcpc_write(port, TCPC_REG_COMMAND, TCPC_REG_COMMAND_SRC_CTRL_HIGH);
	if (rv)
		return rv;

	rv = raa489000_enable_asgate(port, true);
	if (rv)
		return rv;

	/* Notify host of power info change. */
	pd_send_host_event(PD_EVENT_POWER_CHANGE);

	return EC_SUCCESS;
}

void board_reset_pd_mcu(void)
{
	/*
	 * TODO(b:147316511): could send a reset command to the TCPC here
	 * if needed.
	 */
}

/*
 * Because the TCPCs and BC1.2 chips share interrupt lines, it's possible
 * for an interrupt to be lost if one asserts the IRQ, the other does the same
 * then the first releases it: there will only be one falling edge to trigger
 * the interrupt, and the line will be held low. We handle this by running a
 * deferred check after a falling edge to see whether the IRQ is still being
 * asserted. If it is, we assume an interrupt may have been lost and we need
 * to poll each chip for events again.
 */
#define USBC_INT_POLL_DELAY_US 5000

static void poll_c0_int(void);
DECLARE_DEFERRED(poll_c0_int);
static void poll_c1_int(void);
DECLARE_DEFERRED(poll_c1_int);

static void usbc_interrupt_trigger(int port)
{
	schedule_deferred_pd_interrupt(port);
	usb_charger_task_set_event(port, USB_CHG_EVENT_BC12);
}

static inline void poll_usb_gpio(int port, const struct gpio_dt_spec *gpio,
				 const struct deferred_data *ud)
{
	if (!gpio_pin_get_dt(gpio)) {
		usbc_interrupt_trigger(port);
		hook_call_deferred(ud, USBC_INT_POLL_DELAY_US);
	}
}

static void poll_c0_int(void)
{
	poll_usb_gpio(0, GPIO_DT_FROM_NODELABEL(gpio_usb_c0_int_odl),
		      &poll_c0_int_data);
}

static void poll_c1_int(void)
{
	poll_usb_gpio(1, GPIO_DT_FROM_ALIAS(gpio_usb_c1_int_odl),
		      &poll_c1_int_data);
}

void usb_interrupt(enum gpio_signal signal)
{
	int port;
	const struct deferred_data *ud;

	if (signal == GPIO_SIGNAL(DT_NODELABEL(gpio_usb_c0_int_odl))) {
		port = 0;
		ud = &poll_c0_int_data;
	} else {
		port = 1;
		ud = &poll_c1_int_data;
	}
	/*
	 * We've just been called from a falling edge, so there's definitely
	 * no lost IRQ right now. Cancel any pending check.
	 */
	hook_call_deferred(ud, -1);
	/* Trigger polling of TCPC and BC1.2 in respective tasks */
	usbc_interrupt_trigger(port);
	/* Check for lost interrupts in a bit */
	hook_call_deferred(ud, USBC_INT_POLL_DELAY_US);
}
```
